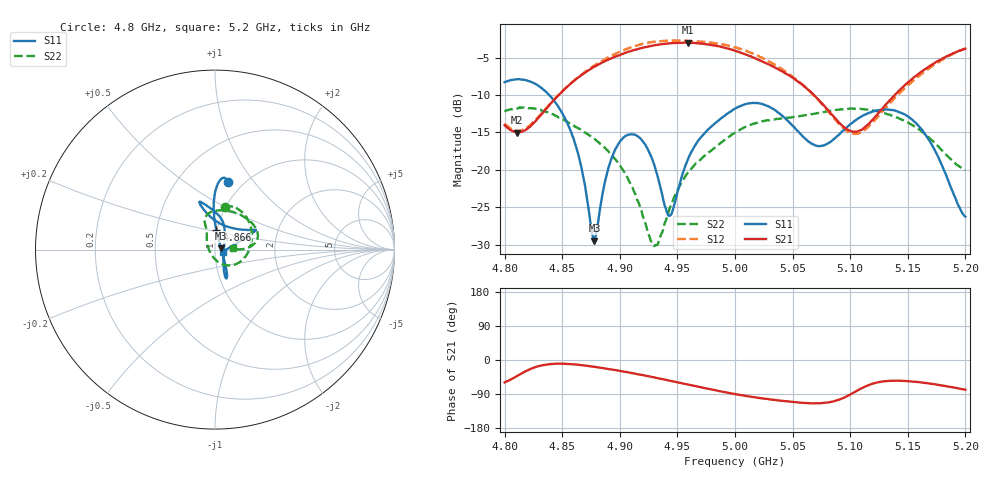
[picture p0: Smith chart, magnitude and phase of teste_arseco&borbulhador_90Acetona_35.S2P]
! Network Analyzer HP8722D
! Hewlett-Packard
! Data name: Linha & Wilkinson
! Saver's name: Rodrigo Anjos
! Comments: Teste da utilização de aquisição
! continua pelo VNA HP8722D
! Time and date: 17/4/2025 11:20
!  Frequency  S11  S21  S12  S22
# HZ  S  MA R 50
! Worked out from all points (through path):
!   401 points, 4.8 GHz to 5.2 GHz, reference 50 ohm
!   highest |S21| = -2.99 dB at 4.959 GHz (marker M1); lowest = -15.0 dB at 4.811 GHz (marker M2)
!   lowest |S11| = -29.5 dB at 4.878 GHz (marker M3), VSWR 1.07, Z = 53.4 + j0.727 ohm
!   |S11| at or under -10 dB: 4.839 GHz to end of sweep
!   |S22| runs from -30.2 to -11.6 dB; largest |S21 - S12| = 1.4
!   S11 on the Smith chart (normalised r, x): 4.8 GHz: 0.85, +0.75; 4.866 GHz: 0.99, +0.22; 5.2 GHz: 1.10, -0.03
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4.8e9  0.3856 79.1  0.1988 -59.2  0.2034 75.8  0.245 77.2
4.811e9  0.403 82.4  0.1774 -41.9  0.1825 91.4  0.2574 67.8
4.844e9  0.282 91.0  0.2989 -10.0  0.3005 122.9  0.2295 28.6
4.857e9  0.1847 91.5  0.3751 -10.8  0.3763 123.9  0.203 9.6
4.866e9  0.109 85.7  0.4255 -13.4  0.4291 123.0  0.1859 -4.2
4.867e9  0.1007 84.7  0.4312 -13.8  0.4344 122.9  0.1838 -5.7
4.878e9  0.03355 11.7  0.489 -17.9  0.4986 120.6  0.1612 -22.6
4.891e9  0.1083 -56.9  0.55 -24.4  0.5704 116.4  0.1302 -41.0
4.903e9  0.1639 -65.7  0.5978 -30.2  0.6304 111.4  0.09876 -58.5
4.92e9  0.1549 -69.2  0.6542 -40.0  0.698 102.1  0.04885 -95.1
4.928e9  0.1187 -65.8  0.6765 -44.9  0.7158 97.3  0.03286 -135.4
4.934e9  0.08357 -56.1  0.6885 -48.6  0.7253 93.4  0.03354 -179.8
4.944e9  0.04958 3.8  0.7036 -55.0  0.7299 87.0  0.05695 139.7
4.959e9  0.1169 62.4  0.7088 -64.6  0.7281 77.4  0.09523 118.8
4.974e9  0.1772 79.1  0.6934 -74.3  0.7159 67.6  0.1248 112.6
5e9  0.256 102.3  0.6261 -89.9  0.6604 51.0  0.1768 108.8
5.029e9  0.2658 108.1  0.5084 -103.4  0.532 35.2  0.214 92.2
5.067e9  0.1492 79.8  0.325 -114.2  0.3236 26.5  0.2352 58.6
5.103e9  0.21 31.4  0.1795 -86.1  0.1739 57.8  0.2564 26.7
5.134e9  0.2523 25.4  0.2898 -55.0  0.2767 91.2  0.2338 10.8
5.165e9  0.1735 20.6  0.4711 -60.7  0.4548 87.3  0.1731 2.2
5.2e9  0.0486 -16.8  0.6452 -78.6  0.6482 70.6  0.09944 4.7
